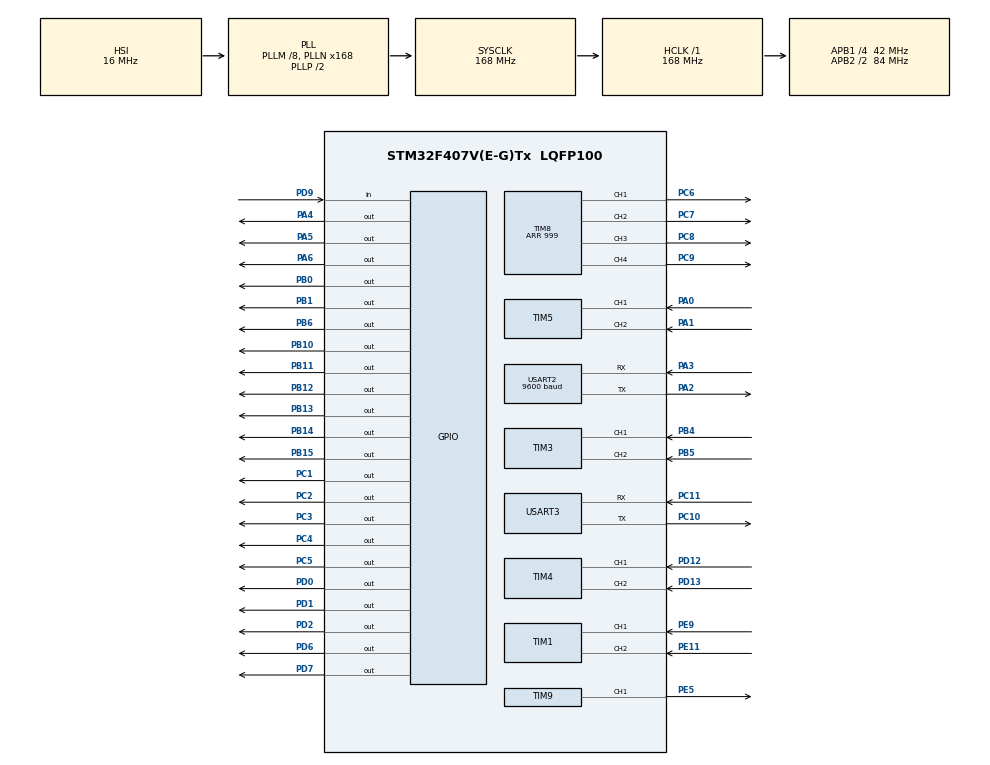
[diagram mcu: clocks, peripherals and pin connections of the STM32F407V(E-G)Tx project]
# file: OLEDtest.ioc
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FREERTOS.Tasks01=defaultTask,0,128,StartDefaultTask,Default,NULL,Dynamic,NULL,NULL
Mcu.Family=STM32F4
Mcu.Name=STM32F407V(E-G)Tx
Mcu.Package=LQFP100
NVIC.PriorityGroup=NVIC_PRIORITYGROUP_4
NVIC.USART2_IRQn=true\:5\:0\:false\:false\:true\:true\:true\:true\:true
PA0-WKUP.Signal=S_TIM5_CH1
PA1.Signal=S_TIM5_CH2
PA13.Mode=Serial_Wire
PA13.Signal=SYS_JTMS-SWDIO
PA14.Mode=Serial_Wire
PA14.Signal=SYS_JTCK-SWCLK
PA2.Mode=Asynchronous
PA2.Signal=USART2_TX
PA3.Mode=Asynchronous
PA3.Signal=USART2_RX
PA4.Signal=GPIO_Output
PA5.Signal=GPIO_Output
PA6.Signal=GPIO_Output
PB0.Signal=GPIO_Output
PB1.Signal=GPIO_Output
PB10.GPIO_ModeDefaultOutputPP=GPIO_MODE_OUTPUT_OD
PB10.GPIO_PuPd=GPIO_NOPULL
PB10.Signal=GPIO_Output
PB11.GPIO_ModeDefaultOutputPP=GPIO_MODE_OUTPUT_OD
PB11.GPIO_PuPd=GPIO_NOPULL
PB11.PinState=GPIO_PIN_SET
PB11.Signal=GPIO_Output
PB12.GPIO_Speed=GPIO_SPEED_FREQ_HIGH
PB12.Signal=GPIO_Output
PB13.GPIO_Speed=GPIO_SPEED_FREQ_HIGH
PB13.Signal=GPIO_Output
PB14.GPIO_Speed=GPIO_SPEED_FREQ_HIGH
PB14.Signal=GPIO_Output
PB15.GPIO_Speed=GPIO_SPEED_FREQ_HIGH
PB15.Signal=GPIO_Output
PB4.Signal=S_TIM3_CH1
PB5.Signal=S_TIM3_CH2
PB6.Signal=GPIO_Output
PC1.GPIO_Speed=GPIO_SPEED_FREQ_VERY_HIGH
PC1.Signal=GPIO_Output
PC10.Mode=Asynchronous
PC10.Signal=USART3_TX
PC11.Mode=Asynchronous
PC11.Signal=USART3_RX
PC14-OSC32_IN.Mode=LSE-External-Oscillator
PC14-OSC32_IN.Signal=RCC_OSC32_IN
PC15-OSC32_OUT.Mode=LSE-External-Oscillator
PC15-OSC32_OUT.Signal=RCC_OSC32_OUT
PC2.GPIO_Speed=GPIO_SPEED_FREQ_VERY_HIGH
PC2.Signal=GPIO_Output
PC3.PinState=GPIO_PIN_SET
PC3.Signal=GPIO_Output
PC4.Signal=GPIO_Output
PC5.Signal=GPIO_Output
PC6.Signal=S_TIM8_CH1
PC7.Signal=S_TIM8_CH2
PC8.Signal=S_TIM8_CH3
PC9.Signal=S_TIM8_CH4
PD0.GPIO_Speed=GPIO_SPEED_FREQ_VERY_HIGH
PD0.Signal=GPIO_Output
PD1.GPIO_Speed=GPIO_SPEED_FREQ_VERY_HIGH
PD1.Signal=GPIO_Output
PD12.Signal=S_TIM4_CH1
PD13.Signal=S_TIM4_CH2
PD2.GPIO_Speed=GPIO_SPEED_FREQ_VERY_HIGH
PD2.Signal=GPIO_Output
PD6.Signal=GPIO_Output
PD7.Signal=GPIO_Output
PD9.GPIO_PuPd=GPIO_PULLUP
PD9.Signal=GPIO_Input
PE11.Signal=S_TIM1_CH2
PE5.Signal=S_TIM9_CH1
PE9.Signal=S_TIM1_CH1
PH0-OSC_IN.Mode=HSE-External-Oscillator
PH0-OSC_IN.Signal=RCC_OSC_IN
PH1-OSC_OUT.Mode=HSE-External-Oscillator
PH1-OSC_OUT.Signal=RCC_OSC_OUT
ProjectManager.HeapSize=0x200
ProjectManager.StackSize=0x400
ProjectManager.TargetToolchain=CMake
RCC.48MHZClocksFreq_Value=84000000
RCC.AHBFreq_Value=168000000
RCC.APB1CLKDivider=RCC_HCLK_DIV4
RCC.APB1Freq_Value=42000000
RCC.APB1TimFreq_Value=84000000
RCC.APB2CLKDivider=RCC_HCLK_DIV2
RCC.APB2Freq_Value=84000000
RCC.APB2TimFreq_Value=168000000
RCC.CortexFreq_Value=168000000
RCC.HCLKFreq_Value=168000000
RCC.HSE_VALUE=25000000
RCC.HSI_VALUE=16000000
RCC.PLLM=8
RCC.PLLN=168
RCC.SYSCLKFreq_VALUE=168000000
RCC.SYSCLKSource=RCC_SYSCLKSOURCE_PLLCLK
RCC.VCOOutputFreq_Value=336000000
SH.S_TIM1_CH1.0=TIM1_CH1,Encoder_Interface
SH.S_TIM1_CH2.0=TIM1_CH2,Encoder_Interface
SH.S_TIM3_CH1.0=TIM3_CH1,Encoder_Interface
SH.S_TIM3_CH2.0=TIM3_CH2,Encoder_Interface
SH.S_TIM4_CH1.0=TIM4_CH1,Encoder_Interface
SH.S_TIM4_CH2.0=TIM4_CH2,Encoder_Interface
SH.S_TIM5_CH1.0=TIM5_CH1,Encoder_Interface
SH.S_TIM5_CH2.0=TIM5_CH2,Encoder_Interface
SH.S_TIM8_CH1.0=TIM8_CH1,PWM Generation1 CH1
SH.S_TIM8_CH2.0=TIM8_CH2,PWM Generation2 CH2
SH.S_TIM8_CH3.0=TIM8_CH3,PWM Generation3 CH3
SH.S_TIM8_CH4.0=TIM8_CH4,PWM Generation4 CH4
SH.S_TIM9_CH1.0=TIM9_CH1,PWM Generation1 CH1
TIM1.EncoderMode=TIM_ENCODERMODE_TI12
TIM3.EncoderMode=TIM_ENCODERMODE_TI12
TIM3.IC1Filter=4
TIM4.EncoderMode=TIM_ENCODERMODE_TI12
TIM5.EncoderMode=TIM_ENCODERMODE_TI12
TIM8.Channel-PWM\ Generation1\ CH1=TIM_CHANNEL_1
TIM8.Channel-PWM\ Generation2\ CH2=TIM_CHANNEL_2
TIM8.Channel-PWM\ Generation3\ CH3=TIM_CHANNEL_3
TIM8.Channel-PWM\ Generation4\ CH4=TIM_CHANNEL_4
TIM8.Period=999
TIM9.Channel-PWM\ Generation1\ CH1=TIM_CHANNEL_1
USART2.BaudRate=9600
USART2.VirtualMode=VM_ASYNC
USART3.VirtualMode=VM_ASYNC
VP_FREERTOS_VS_CMSIS_V1.Mode=CMSIS_V1
board=custom

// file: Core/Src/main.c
/* USER CODE BEGIN Header */
/**
  ******************************************************************************
  * @file           : main.c
  * @brief          : Main program body
  ******************************************************************************
  * @attention
  *
  * Copyright (c) 2026 STMicroelectronics.
  * All rights reserved.
  *
  * This software is licensed under terms that can be found in the LICENSE file
  * in the root directory of this software component.
  * If no LICENSE file comes with this software, it is provided AS-IS.
  *
  ******************************************************************************
  */
/* USER CODE END Header */
#include "main.h"
#include "cmsis_os.h"
#include "tim.h"
#include "usart.h"
#include "gpio.h"

/* USER CODE BEGIN PV */
#include "oled.h"
#include "bmp.h"
#include <stdio.h>
#include "stm32f4xx_hal_gpio.h"
#include "MotorPulse.h"
#include "encoder.h"
#include "motor.h"
#include "PID.h"
#include "chassis.h"
#include "nrf24l01.h"
#include "servo.h"
#include "serial_protocol.h"
/* USER CODE END PV */

void SystemClock_Config(void);
void MX_FREERTOS_Init(void);

int main(void)
{

  /* MCU Configuration--------------------------------------------------------*/

  /* Reset of all peripherals, Initializes the Flash interface and the Systick. */
  HAL_Init();

  /* Configure the system clock */
  SystemClock_Config();

  /* Initialize all configured peripherals */
  MX_GPIO_Init();
  MX_TIM4_Init();
  MX_TIM3_Init();
  MX_TIM1_Init();
  MX_TIM5_Init();
  MX_TIM8_Init();
  MX_USART3_UART_Init();
  MX_TIM9_Init();
  MX_USART2_UART_Init();
  /* USER CODE BEGIN 2 */
  //初始化
  OLED_Init();
  OLED_Clear();
  OLED_ShowString(0, 0, (uint8_t *)"Init Sucess", 16, 1);
  OLED_Refresh();
  NRF24L01_Init();
  Servo_Init();
  Serial_Init();
  // 开启编码器计数与PWM输出
  HAL_TIM_Encoder_Start(&htim1, TIM_CHANNEL_ALL);
  HAL_TIM_Encoder_Start(&htim4, TIM_CHANNEL_ALL);
  HAL_TIM_Encoder_Start(&htim3, TIM_CHANNEL_ALL);
  HAL_TIM_Encoder_Start(&htim5, TIM_CHANNEL_ALL);

  HAL_TIM_PWM_Start(&htim8, TIM_CHANNEL_1);
  HAL_TIM_PWM_Start(&htim8, TIM_CHANNEL_2);
  HAL_TIM_PWM_Start(&htim8, TIM_CHANNEL_3);
  HAL_TIM_PWM_Start(&htim8, TIM_CHANNEL_4);

  Motor_Load(0, 0, 0, 0);
  OLED_Clear();

  /* ---------- FeeRTOS相关 ---------- */

  /* ---------------------- ---------- */
  //OLED测试
  //OLED_Clear();
  //OLED_ShowString(0, 0, (uint8_t *)"OLED1", 16, 1);
  //OLED_Refresh();
  /* USER CODE END 2 */

  /* Call init function for freertos objects (in cmsis_os2.c) */
  MX_FREERTOS_Init();

  /* Start scheduler */
  osKernelStart();

  /* We should never get here as control is now taken by the scheduler */

  /* Infinite loop */
  while (1)
  {
  }

}

void SystemClock_Config(void)
{
  RCC_OscInitTypeDef RCC_OscInitStruct = {0};
  RCC_ClkInitTypeDef RCC_ClkInitStruct = {0};

  /** Configure the main internal regulator output voltage
  */
  __HAL_RCC_PWR_CLK_ENABLE();
  __HAL_PWR_VOLTAGESCALING_CONFIG(PWR_REGULATOR_VOLTAGE_SCALE1);

  /** Initializes the RCC Oscillators according to the specified parameters
  * in the RCC_OscInitTypeDef structure.
  */
  RCC_OscInitStruct.OscillatorType = RCC_OSCILLATORTYPE_HSI;
  RCC_OscInitStruct.HSIState = RCC_HSI_ON;
  RCC_OscInitStruct.HSICalibrationValue = RCC_HSICALIBRATION_DEFAULT;
  RCC_OscInitStruct.PLL.PLLState = RCC_PLL_ON;
  RCC_OscInitStruct.PLL.PLLSource = RCC_PLLSOURCE_HSI;
  RCC_OscInitStruct.PLL.PLLM = 8;
  RCC_OscInitStruct.PLL.PLLN = 168;
  RCC_OscInitStruct.PLL.PLLP = RCC_PLLP_DIV2;
  RCC_OscInitStruct.PLL.PLLQ = 4;
  if (HAL_RCC_OscConfig(&RCC_OscInitStruct) != HAL_OK)
  {
    Error_Handler();
  }

  /** Initializes the CPU, AHB and APB buses clocks
  */
  RCC_ClkInitStruct.ClockType = RCC_CLOCKTYPE_HCLK|RCC_CLOCKTYPE_SYSCLK
                              |RCC_CLOCKTYPE_PCLK1|RCC_CLOCKTYPE_PCLK2;
  RCC_ClkInitStruct.SYSCLKSource = RCC_SYSCLKSOURCE_PLLCLK;
  RCC_ClkInitStruct.AHBCLKDivider = RCC_SYSCLK_DIV1;
  RCC_ClkInitStruct.APB1CLKDivider = RCC_HCLK_DIV4;
  RCC_ClkInitStruct.APB2CLKDivider = RCC_HCLK_DIV2;

  if (HAL_RCC_ClockConfig(&RCC_ClkInitStruct, FLASH_LATENCY_5) != HAL_OK)
  {
    Error_Handler();
  }
}

void Error_Handler(void)
{
  __disable_irq();
  while (1)
  {
  }
}

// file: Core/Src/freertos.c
/* USER CODE BEGIN Header */
/**
  ******************************************************************************
  * File Name          : freertos.c
  * Description        : Code for freertos applications
  ******************************************************************************
  * @attention
  *
  * Copyright (c) 2026 STMicroelectronics.
  * All rights reserved.
  *
  * This software is licensed under terms that can be found in the LICENSE file
  * in the root directory of this software component.
  * If no LICENSE file comes with this software, it is provided AS-IS.
  *
  ******************************************************************************
  */
/* USER CODE END Header */

#include "FreeRTOS.h"
#include "task.h"
#include "main.h"
#include "cmsis_os.h"

/* USER CODE BEGIN Includes */
#include "chassis.h"
#include "motor.h"
#include "emergencyTask.h"
#include "ControlTask.h"
#include "NRFTask.h"
#include "OLEDTask.h"
#include "PIDTask.h"
#include "StepperTask.h"
/* USER CODE END Includes */

osThreadId defaultTaskHandle;

/* USER CODE BEGIN FunctionPrototypes */
osThreadId emergencyTaskHandle;
osThreadId controlTaskHandle;
osThreadId nrfTaskHandle;
osThreadId oledTaskHandle;
osThreadId pidTaskHandle;
osThreadId stepperTaskHandle;
QueueHandle_t rcQueueHandle;
QueueHandle_t stepperQueueHandle;
/* USER CODE END FunctionPrototypes */

void StartDefaultTask(void const * argument);

void MX_FREERTOS_Init(void); /* (MISRA C 2004 rule 8.1) */

/* GetIdleTaskMemory prototype (linked to static allocation support) */
void vApplicationGetIdleTaskMemory( StaticTask_t **ppxIdleTaskTCBBuffer, StackType_t **ppxIdleTaskStackBuffer, uint32_t *pulIdleTaskStackSize );

/* USER CODE BEGIN GET_IDLE_TASK_MEMORY */
static StaticTask_t xIdleTaskTCBBuffer;
static StackType_t xIdleStack[configMINIMAL_STACK_SIZE];

void vApplicationGetIdleTaskMemory( StaticTask_t **ppxIdleTaskTCBBuffer, StackType_t **ppxIdleTaskStackBuffer, uint32_t *pulIdleTaskStackSize )
{
  *ppxIdleTaskTCBBuffer = &xIdleTaskTCBBuffer;
  *ppxIdleTaskStackBuffer = &xIdleStack[0];
  *pulIdleTaskStackSize = configMINIMAL_STACK_SIZE;
  /* place for user code */
}
/* USER CODE END GET_IDLE_TASK_MEMORY */

void MX_FREERTOS_Init(void) {

  /* USER CODE BEGIN RTOS_QUEUES */
  /* 创建遥控数据队列（NRFTask→ControlTask） */
  rcQueueHandle = xQueueCreate(1, sizeof(RC_Data_t));
  /* 创建步进电机命令队列（ControlTask→StepperTask） */
  stepperQueueHandle = xQueueCreate(1, sizeof(StepperCmd_t));
  /* USER CODE END RTOS_QUEUES */

  /* Create the thread(s) */
  /* definition and creation of defaultTask */
  osThreadDef(defaultTask, StartDefaultTask, osPriorityNormal, 0, 128);
  defaultTaskHandle = osThreadCreate(osThread(defaultTask), NULL);

  /* USER CODE BEGIN RTOS_THREADS */
  /* definition and creation of emergencyTask */
  // osThreadDef(emergencyTask, StartEmergencyTask, osPriorityRealtime, 0, 128);
  // emergencyTaskHandle = osThreadCreate(osThread(emergencyTask), NULL);

  /* definition and creation of controlTask */
  osThreadDef(controlTask, StartControlTask, osPriorityHigh, 0, 128);
  controlTaskHandle = osThreadCreate(osThread(controlTask), NULL);

  /* definition and creation of nrfTask */
  osThreadDef(nrfTask, StartNRFTask, osPriorityAboveNormal, 0, 128);
  nrfTaskHandle = osThreadCreate(osThread(nrfTask), NULL);

  /* definition and creation of oledTask */
  osThreadDef(oledTask, StartOLEDTask, osPriorityLow, 0, 128);
  oledTaskHandle = osThreadCreate(osThread(oledTask), NULL);

  /* definition and creation of stepperTask */
  osThreadDef(stepperTask, StartStepperTask, osPriorityNormal, 0, 128);
  stepperTaskHandle = osThreadCreate(osThread(stepperTask), NULL);

  /* definition and creation of pidTask */
  // osThreadDef(pidTask, StartPIDTask, osPriorityHigh, 0, 128);
  // pidTaskHandle = osThreadCreate(osThread(pidTask), NULL);
  /* USER CODE END RTOS_THREADS */

}

void StartDefaultTask(void const * argument)
{
  for(;;)
  {
    osDelay(1);
  }
}
